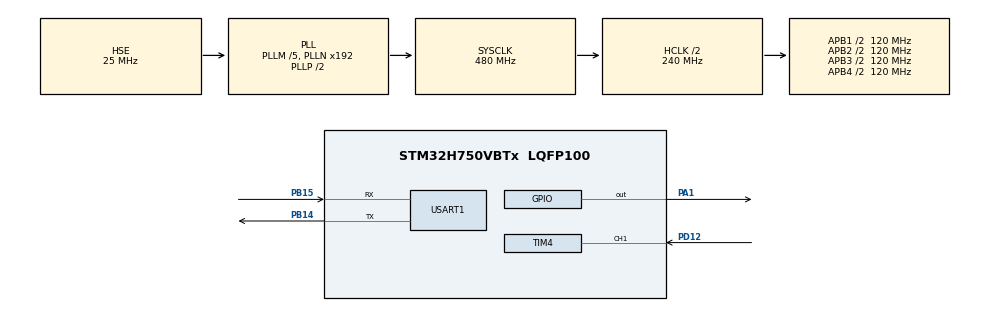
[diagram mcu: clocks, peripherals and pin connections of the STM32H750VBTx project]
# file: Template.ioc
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CORTEX_M7.AccessPermission-Cortex_Memory_Protection_Unit_Region0_Settings=MPU_REGION_FULL_ACCESS
CORTEX_M7.AccessPermission-Cortex_Memory_Protection_Unit_Region1_Settings=MPU_REGION_FULL_ACCESS
CORTEX_M7.AccessPermission-Cortex_Memory_Protection_Unit_Region2_Settings=MPU_REGION_FULL_ACCESS
CORTEX_M7.AccessPermission-Cortex_Memory_Protection_Unit_Region3_Settings=MPU_REGION_FULL_ACCESS
CORTEX_M7.AccessPermission-Cortex_Memory_Protection_Unit_Region4_Settings=MPU_REGION_FULL_ACCESS
CORTEX_M7.BaseAddress-Cortex_Memory_Protection_Unit_Region0_Settings=0x24000000
CORTEX_M7.BaseAddress-Cortex_Memory_Protection_Unit_Region1_Settings=0x30000000
CORTEX_M7.BaseAddress-Cortex_Memory_Protection_Unit_Region2_Settings=0x30020000
CORTEX_M7.BaseAddress-Cortex_Memory_Protection_Unit_Region3_Settings=0x30040000
CORTEX_M7.BaseAddress-Cortex_Memory_Protection_Unit_Region4_Settings=0x38000000
CORTEX_M7.CPU_DCache=Enabled
CORTEX_M7.CPU_ICache=Enabled
CORTEX_M7.Enable-Cortex_Memory_Protection_Unit_Region0_Settings=MPU_REGION_ENABLE
CORTEX_M7.Enable-Cortex_Memory_Protection_Unit_Region1_Settings=MPU_REGION_ENABLE
CORTEX_M7.Enable-Cortex_Memory_Protection_Unit_Region2_Settings=MPU_REGION_ENABLE
CORTEX_M7.Enable-Cortex_Memory_Protection_Unit_Region3_Settings=MPU_REGION_ENABLE
CORTEX_M7.Enable-Cortex_Memory_Protection_Unit_Region4_Settings=MPU_REGION_ENABLE
CORTEX_M7.IsBufferable-Cortex_Memory_Protection_Unit_Region0_Settings=MPU_ACCESS_BUFFERABLE
CORTEX_M7.IsCacheable-Cortex_Memory_Protection_Unit_Region0_Settings=MPU_ACCESS_CACHEABLE
CORTEX_M7.MPU_Control=MPU_PRIVILEGED_DEFAULT
CORTEX_M7.Size-Cortex_Memory_Protection_Unit_Region0_Settings=MPU_REGION_SIZE_512KB
CORTEX_M7.Size-Cortex_Memory_Protection_Unit_Region1_Settings=MPU_REGION_SIZE_128KB
CORTEX_M7.Size-Cortex_Memory_Protection_Unit_Region2_Settings=MPU_REGION_SIZE_128KB
CORTEX_M7.Size-Cortex_Memory_Protection_Unit_Region3_Settings=MPU_REGION_SIZE_32KB
CORTEX_M7.Size-Cortex_Memory_Protection_Unit_Region4_Settings=MPU_REGION_SIZE_64KB
CORTEX_M7.TypeExtField-Cortex_Memory_Protection_Unit_Region0_Settings=MPU_TEX_LEVEL1
CORTEX_M7.TypeExtField-Cortex_Memory_Protection_Unit_Region1_Settings=MPU_TEX_LEVEL1
CORTEX_M7.TypeExtField-Cortex_Memory_Protection_Unit_Region2_Settings=MPU_TEX_LEVEL1
CORTEX_M7.TypeExtField-Cortex_Memory_Protection_Unit_Region3_Settings=MPU_TEX_LEVEL1
CORTEX_M7.TypeExtField-Cortex_Memory_Protection_Unit_Region4_Settings=MPU_TEX_LEVEL1
Mcu.Family=STM32H7
Mcu.Name=STM32H750VBTx
Mcu.Package=LQFP100
NVIC.PriorityGroup=NVIC_PRIORITYGROUP_4
NVIC.TIM4_IRQn=true\:0\:0\:false\:false\:true\:true\:true\:true
PA1.GPIO_PuPd=GPIO_PULLDOWN
PA1.Signal=GPIO_Output
PA13\ (JTMS/SWDIO).Mode=Serial_Wire
PA13\ (JTMS/SWDIO).Signal=DEBUG_JTMS-SWDIO
PA14\ (JTCK/SWCLK).Mode=Serial_Wire
PA14\ (JTCK/SWCLK).Signal=DEBUG_JTCK-SWCLK
PB14.Mode=Asynchronous
PB14.Signal=USART1_TX
PB15.Mode=Asynchronous
PB15.Signal=USART1_RX
PD12.GPIO_PuPd=GPIO_PULLDOWN
PD12.GPIO_Speed=GPIO_SPEED_FREQ_LOW
PD12.Signal=S_TIM4_CH1
PH0-OSC_IN\ (PH0).Mode=HSE-External-Oscillator
PH0-OSC_IN\ (PH0).Signal=RCC_OSC_IN
PH1-OSC_OUT\ (PH1).Mode=HSE-External-Oscillator
PH1-OSC_OUT\ (PH1).Signal=RCC_OSC_OUT
ProjectManager.HeapSize=0x200
ProjectManager.StackSize=0x7400
ProjectManager.TargetToolchain=MDK-ARM V5.32
RCC.ADCFreq_Value=50390625
RCC.APB1Freq_Value=120000000
RCC.APB2Freq_Value=120000000
RCC.APB3Freq_Value=120000000
RCC.APB4Freq_Value=120000000
RCC.CortexFreq_Value=480000000
RCC.D1PPRE=RCC_APB3_DIV2
RCC.D2PPRE1=RCC_APB1_DIV2
RCC.D2PPRE2=RCC_APB2_DIV2
RCC.D3PPRE=RCC_APB4_DIV2
RCC.DIVM1=5
RCC.DIVN1=192
RCC.HCLKFreq_Value=240000000
RCC.HPRE=RCC_HCLK_DIV2
RCC.PLLSourceVirtual=RCC_PLLSOURCE_HSE
RCC.ProductRev=revV
RCC.SYSCLKFreq_VALUE=480000000
RCC.SYSCLKSource=RCC_SYSCLKSOURCE_PLLCLK
RCC.USBFreq_Value=480000000
SH.S_TIM4_CH1.0=TIM4_CH1,Input_Capture1_from_TI1
TIM4.AutoReloadPreload=TIM_AUTORELOAD_PRELOAD_ENABLE
TIM4.Channel-Input_Capture1_from_TI1=TIM_CHANNEL_1
TIM4.ICFilter_CH1=8
TIM4.Period=65535
TIM4.Prescaler=240-1
TIM7.Prescaler=239
USART1.VirtualMode-Asynchronous=VM_ASYNC
VP_TIM4_VS_ClockSourceINT.Mode=Internal
VP_TIM7_VS_ClockSourceINT.Mode=Enable_Timer
board=custom

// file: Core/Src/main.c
/* USER CODE BEGIN Header */
/**
  ******************************************************************************
  * @file           : main.c
  * @brief          : Main program body
  ******************************************************************************
  * @attention
  *
  * Copyright (c) 2023 STMicroelectronics.
  * All rights reserved.
  *
  * This software is licensed under terms that can be found in the LICENSE file
  * in the root directory of this software component.
  * If no LICENSE file comes with this software, it is provided AS-IS.
  *
  ******************************************************************************
  */
/* USER CODE END Header */
#include "main.h"
#include "tim.h"
#include "usart.h"
#include "gpio.h"

/* USER CODE BEGIN PD */
uint32_t	Timer4_timeout 	= 0;
uint32_t	capture_Buf[2]	={0};//记录
uint32_t	capture_state		=	0;
double		deltaT					= 0.0;

/* USER CODE END PD */

void SystemClock_Config(void);
static void MPU_Initialize(void);
static void MPU_Config(void);
/* USER CODE BEGIN PFP */
void Get_deltaT(void);

/* USER CODE END PFP */

int main(void)
{

  /* Enable I-Cache---------------------------------------------------------*/
  SCB_EnableICache();

  /* Enable D-Cache---------------------------------------------------------*/
  SCB_EnableDCache();

  /* MCU Configuration--------------------------------------------------------*/

  /* Reset of all peripherals, Initializes the Flash interface and the Systick. */
  HAL_Init();

  /* MPU Configuration--------------------------------------------------------*/
  MPU_Config();

  /* Configure the system clock */
  SystemClock_Config();

  /* Initialize all configured peripherals */
  MX_GPIO_Init();
  MX_TIM7_Init();
  MX_USART1_UART_Init();
  MX_TIM4_Init();
  /* USER CODE BEGIN 2 */

	printf("\nstart\n");

  HAL_TIM_IC_Start_IT(&htim4, TIM_CHANNEL_1);    //启动输入捕获

  /* USER CODE END 2 */

  /* Infinite loop */
  while (1)
  {

  }
}

void SystemClock_Config(void)
{
  RCC_OscInitTypeDef RCC_OscInitStruct = {0};
  RCC_ClkInitTypeDef RCC_ClkInitStruct = {0};

  /** Supply configuration update enable
  */
  HAL_PWREx_ConfigSupply(PWR_LDO_SUPPLY);

  /** Configure the main internal regulator output voltage
  */
  __HAL_PWR_VOLTAGESCALING_CONFIG(PWR_REGULATOR_VOLTAGE_SCALE1);

  while(!__HAL_PWR_GET_FLAG(PWR_FLAG_VOSRDY)) {}

  __HAL_RCC_SYSCFG_CLK_ENABLE();
  __HAL_PWR_VOLTAGESCALING_CONFIG(PWR_REGULATOR_VOLTAGE_SCALE0);

  while(!__HAL_PWR_GET_FLAG(PWR_FLAG_VOSRDY)) {}

  /** Initializes the RCC Oscillators according to the specified parameters
  * in the RCC_OscInitTypeDef structure.
  */
  RCC_OscInitStruct.OscillatorType = RCC_OSCILLATORTYPE_HSE;
  RCC_OscInitStruct.HSEState = RCC_HSE_ON;
  RCC_OscInitStruct.PLL.PLLState = RCC_PLL_ON;
  RCC_OscInitStruct.PLL.PLLSource = RCC_PLLSOURCE_HSE;
  RCC_OscInitStruct.PLL.PLLM = 5;
  RCC_OscInitStruct.PLL.PLLN = 192;
  RCC_OscInitStruct.PLL.PLLP = 2;
  RCC_OscInitStruct.PLL.PLLQ = 2;
  RCC_OscInitStruct.PLL.PLLR = 2;
  RCC_OscInitStruct.PLL.PLLRGE = RCC_PLL1VCIRANGE_2;
  RCC_OscInitStruct.PLL.PLLVCOSEL = RCC_PLL1VCOWIDE;
  RCC_OscInitStruct.PLL.PLLFRACN = 0;
  if (HAL_RCC_OscConfig(&RCC_OscInitStruct) != HAL_OK)
  {
    Error_Handler();
  }

  /** Initializes the CPU, AHB and APB buses clocks
  */
  RCC_ClkInitStruct.ClockType = RCC_CLOCKTYPE_HCLK|RCC_CLOCKTYPE_SYSCLK
                              |RCC_CLOCKTYPE_PCLK1|RCC_CLOCKTYPE_PCLK2
                              |RCC_CLOCKTYPE_D3PCLK1|RCC_CLOCKTYPE_D1PCLK1;
  RCC_ClkInitStruct.SYSCLKSource = RCC_SYSCLKSOURCE_PLLCLK;
  RCC_ClkInitStruct.SYSCLKDivider = RCC_SYSCLK_DIV1;
  RCC_ClkInitStruct.AHBCLKDivider = RCC_HCLK_DIV2;
  RCC_ClkInitStruct.APB3CLKDivider = RCC_APB3_DIV2;
  RCC_ClkInitStruct.APB1CLKDivider = RCC_APB1_DIV2;
  RCC_ClkInitStruct.APB2CLKDivider = RCC_APB2_DIV2;
  RCC_ClkInitStruct.APB4CLKDivider = RCC_APB4_DIV2;

  if (HAL_RCC_ClockConfig(&RCC_ClkInitStruct, FLASH_LATENCY_4) != HAL_OK)
  {
    Error_Handler();
  }
}

/* USER CODE BEGIN 4 */

//溢出
void HAL_TIM_PeriodElapsedCallback(TIM_HandleTypeDef *htim)
{
		if(TIM4 == htim->Instance)
		{
			Timer4_timeout++;
		}
}

void HAL_TIM_IC_CaptureCallback(TIM_HandleTypeDef *htim)
{
		if(TIM4 == htim->Instance)
		{
			if(capture_state==0)
			{
				capture_Buf[0] = HAL_TIM_ReadCapturedValue(&htim4,TIM_CHANNEL_1) + Timer4_timeout * 0xFFFF;
				__HAL_TIM_SET_CAPTUREPOLARITY(&htim4,TIM_CHANNEL_1,TIM_ICPOLARITY_FALLING);
				capture_state = 1;
			}
			else if(capture_state==1)
			{
				capture_Buf[1] = HAL_TIM_ReadCapturedValue(&htim4,TIM_CHANNEL_1) + Timer4_timeout * 0xFFFF;
				__HAL_TIM_SET_CAPTUREPOLARITY(&htim4,TIM_CHANNEL_1,TIM_ICPOLARITY_RISING);
				HAL_TIM_IC_Stop_IT(&htim4,TIM_CHANNEL_1);
				capture_state = 0;
				Get_deltaT();
				Timer4_timeout= 0;

				HAL_TIM_IC_Start_IT(&htim4, TIM_CHANNEL_1);    //再次启动输入捕获

			}
		}
}
//由于内部时钟预分频239，1MHz计数频率,1点1us
void Get_deltaT(void)
{
	deltaT = capture_Buf[1] - capture_Buf[0];
	printf("deltaT = %f us\n",deltaT*0.025);
	Delay_Ms(1);
}

/* USER CODE END 4 */

/* MPU Configuration */

void MPU_Config(void)
{
  MPU_Region_InitTypeDef MPU_InitStruct = {0};

  /* Disables the MPU */
  HAL_MPU_Disable();

  /** Initializes and configures the Region and the memory to be protected
  */
  MPU_InitStruct.Enable = MPU_REGION_ENABLE;
  MPU_InitStruct.Number = MPU_REGION_NUMBER0;
  MPU_InitStruct.BaseAddress = 0x24000000;
  MPU_InitStruct.Size = MPU_REGION_SIZE_512KB;
  MPU_InitStruct.SubRegionDisable = 0x0;
  MPU_InitStruct.TypeExtField = MPU_TEX_LEVEL1;
  MPU_InitStruct.AccessPermission = MPU_REGION_FULL_ACCESS;
  MPU_InitStruct.DisableExec = MPU_INSTRUCTION_ACCESS_ENABLE;
  MPU_InitStruct.IsShareable = MPU_ACCESS_NOT_SHAREABLE;
  MPU_InitStruct.IsCacheable = MPU_ACCESS_CACHEABLE;
  MPU_InitStruct.IsBufferable = MPU_ACCESS_BUFFERABLE;

  HAL_MPU_ConfigRegion(&MPU_InitStruct);

  /** Initializes and configures the Region and the memory to be protected
  */
  MPU_InitStruct.Number = MPU_REGION_NUMBER1;
  MPU_InitStruct.BaseAddress = 0x30000000;
  MPU_InitStruct.Size = MPU_REGION_SIZE_128KB;
  MPU_InitStruct.IsCacheable = MPU_ACCESS_NOT_CACHEABLE;
  MPU_InitStruct.IsBufferable = MPU_ACCESS_NOT_BUFFERABLE;

  HAL_MPU_ConfigRegion(&MPU_InitStruct);

  /** Initializes and configures the Region and the memory to be protected
  */
  MPU_InitStruct.Number = MPU_REGION_NUMBER2;
  MPU_InitStruct.BaseAddress = 0x30020000;

  HAL_MPU_ConfigRegion(&MPU_InitStruct);

  /** Initializes and configures the Region and the memory to be protected
  */
  MPU_InitStruct.Number = MPU_REGION_NUMBER3;
  MPU_InitStruct.BaseAddress = 0x30040000;
  MPU_InitStruct.Size = MPU_REGION_SIZE_32KB;

  HAL_MPU_ConfigRegion(&MPU_InitStruct);

  /** Initializes and configures the Region and the memory to be protected
  */
  MPU_InitStruct.Number = MPU_REGION_NUMBER4;
  MPU_InitStruct.BaseAddress = 0x38000000;
  MPU_InitStruct.Size = MPU_REGION_SIZE_64KB;

  HAL_MPU_ConfigRegion(&MPU_InitStruct);
  /* Enables the MPU */
  HAL_MPU_Enable(MPU_PRIVILEGED_DEFAULT);

}

void Error_Handler(void)
{
  __disable_irq();
  while (1)
  {
  }
}
